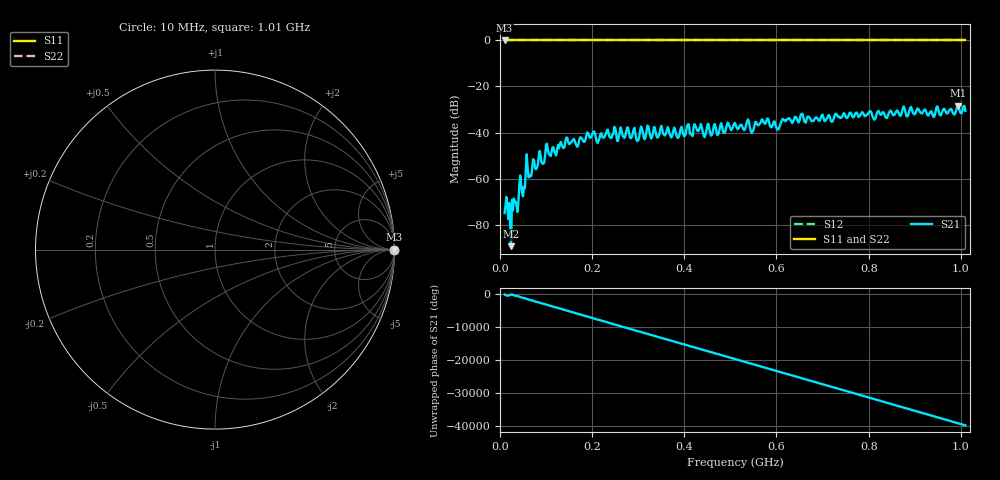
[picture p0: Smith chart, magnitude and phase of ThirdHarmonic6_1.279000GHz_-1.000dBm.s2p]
! 8/16/2025 1:54:20 PM
! C:\ANRITSUVNA\TEMP\TEMP.S2P
! CHANNEL.1
! TR.MEASUREMENT
! RAW.DATA
! RF.CORRECTION.OFF
! AVERAGING.OFF
! IF.BANDWIDTH: 5KHZ
! SWEEPTYPE:  FREQ.SWEEP(Linear)
! Reference Plane Port Info
! PORT:  PORT1  PORT2
! DISTANCE:  0  m  0  m
! TIME:  0  s  0  s
! PHASE.OFFSET:  0  deg.  0  deg.
! LOSS:  0  dB  0  dB
! REF.LOSS:  0  dB  0  dB
! REF.FREQ:  0  Hz  0  Hz
! Power Info
! POWER:  -20  dBm  -20  dBm
! EFF.POWER:  -20  dBm  -20  dBm
! SOURCE.ATTEN:  0  dB  0  dB
! TEST.ATTEN:  0  dB  0  dB
# GHZ S RI R 50.0
! FREQ.GHZ  S11RE  S11IM  S21RE  S21IM  S12RE  S12IM  S22RE  S22IM
!; PortSelection: Port_12
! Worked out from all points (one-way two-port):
!   501 points, 10 MHz to 1.01 GHz, reference 50 ohm
!   highest |S21| = -28.30 dB at 994 MHz (marker M1); lowest = -89.4 dB at 24 MHz (marker M2)
!   lowest |S11| = 0.0 dB at 10 MHz (marker M3)
!   |S11| at or under -10 dB: nowhere
!   |S22| runs from 0.0 to 0.0 dB; largest |S21 - S12| = 1
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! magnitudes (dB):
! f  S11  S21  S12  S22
! 10 MHz  0.0  -75.0  0.0  0.0
! 24 MHz  0.0  -89.4  0.0  0.0
! 36 MHz  0.0  -71.7  0.0  0.0
! 44 MHz  0.0  -58.7  0.0  0.0
! 50 MHz  0.0  -67.7  0.0  0.0
! 60 MHz  0.0  -55.6  0.0  0.0
! 66 MHz  0.0  -59.0  0.0  0.0
! 86 MHz  0.0  -48.0  0.0  0.0
! 94 MHz  0.0  -53.6  0.0  0.0
! 102 MHz  0.0  -44.8  0.0  0.0
! 178 MHz  0.0  -42.7  0.0  0.0
! 344 MHz  0.0  -41.7  0.0  0.0
! 510 MHz  0.0  -35.9  0.0  0.0
! 538 MHz  0.0  -34.3  0.0  0.0
! 546 MHz  0.0  -40.2  0.0  0.0
! 568 MHz  0.0  -34.3  0.0  0.0
! 602 MHz  0.0  -38.7  0.0  0.0
! 626 MHz  0.0  -33.8  0.0  0.0
! 678 MHz  0.0  -35.0  0.0  0.0
! 844 MHz  0.0  -31.5  0.0  0.0
! 994 MHz  0.0  -28.3  0.0  0.0
! 1.01 GHz  0.0  -30.5  0.0  0.0
